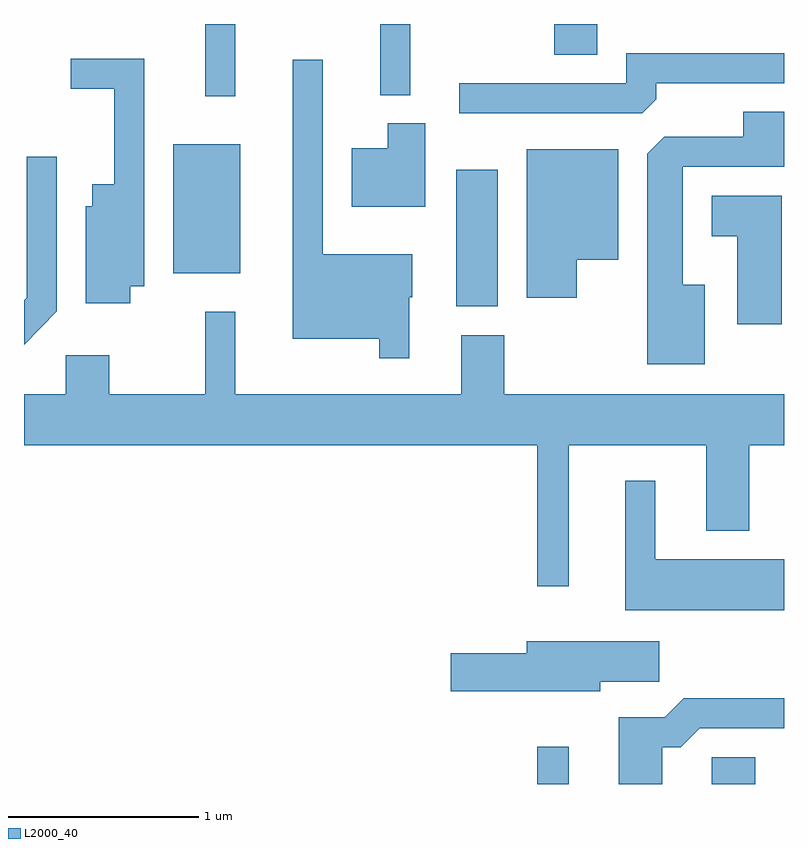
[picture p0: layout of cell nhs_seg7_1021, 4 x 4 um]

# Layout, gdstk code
import gdstk
lib = gdstk.Library(unit=1e-6, precision=1e-09)
def R(c, l, rs):  # rectangles x0, y0, x1, y1
    for r in rs: c.add(gdstk.rectangle(r[:2], r[2:], *l))
def P(c, l, *ps):  # polygons
    for p in ps: c.add(gdstk.Polygon(p, *l))
L2000_40 = (2000, 40)

nhs_seg7_1021 = lib.new_cell('nhs_seg7_1021')
R(nhs_seg7_1021, L2000_40, [(218.311,1770.252,218.479,1770.448), (219.231,1770.252,219.459,1770.394), (217.886,1772.766,218.104,1773.484), (216.396,1772.941,216.749,1773.619), (216.566,1773.873,216.724,1774.252), (217.486,1773.878,217.644,1774.252), (218.401,1774.091,218.629,1774.252)])
P(nhs_seg7_1021, L2000_40, [(218.939,1773.857),(218.939,1773.941),(219.611,1773.941),(219.611,1774.099),(218.781,1774.099),(218.781,1773.939),(217.903,1773.939),(217.903,1773.781),(218.864,1773.781)],
  [(216.169,1772.871),(216.244,1772.871),(216.244,1774.069),(215.858,1774.069),(215.858,1773.911),(216.086,1773.911),(216.086,1773.409),(215.971,1773.409),(215.971,1773.294),(215.936,1773.294),(215.936,1772.781),(216.169,1772.781)],
  [(217.639,1772.815),(217.654,1772.815),(217.654,1773.039),(217.184,1773.039),(217.184,1774.063),(217.026,1774.063),(217.026,1772.596),(217.481,1772.596),(217.481,1772.493),(217.639,1772.493)],
  [(219.194,1772.879),(219.079,1772.879),(219.079,1773.501),(219.611,1773.501),(219.611,1773.789),(219.396,1773.789),(219.396,1773.659),(218.982,1773.659),(218.891,1773.569),(218.891,1772.461),(219.194,1772.461)],
  [(217.724,1773.729),(217.526,1773.729),(217.526,1773.599),(217.336,1773.599),(217.336,1773.291),(217.724,1773.291)],
  [(218.519,1773.011),(218.739,1773.011),(218.739,1773.594),(218.256,1773.594),(218.256,1772.811),(218.519,1772.811)],
  [(215.784,1772.739),(215.784,1773.553),(215.626,1773.553),(215.626,1772.812),(215.611,1772.797),(215.611,1772.565)],
  [(219.599,1773.349),(219.231,1773.349),(219.231,1773.136),(219.366,1773.136),(219.366,1772.671),(219.599,1772.671)],
  [(218.479,1772.036),(219.201,1772.036),(219.201,1771.586),(219.429,1771.586),(219.429,1772.036),(219.611,1772.036),(219.611,1772.304),(218.139,1772.304),(218.139,1772.614),(217.911,1772.614),(217.911,1772.304),(216.724,1772.304),(216.724,1772.738),(216.566,1772.738),(216.566,1772.304),(216.059,1772.304),(216.059,1772.509),(215.831,1772.509),(215.831,1772.304),(215.611,1772.304),(215.611,1772.036),(218.311,1772.036),(218.311,1771.293),(218.479,1771.293)],
  [(219.611,1771.434),(218.934,1771.434),(218.934,1771.848),(218.776,1771.848),(218.776,1771.166),(219.611,1771.166)],
  [(218.644,1770.791),(218.954,1770.791),(218.954,1771.004),(218.256,1771.004),(218.256,1770.939),(217.856,1770.939),(217.856,1770.741),(218.644,1770.741)],
  [(218.969,1770.446),(219.067,1770.446),(219.167,1770.546),(219.611,1770.546),(219.611,1770.704),(219.084,1770.704),(218.984,1770.604),(218.741,1770.604),(218.741,1770.252),(218.969,1770.252)])

lib.write_gds('nhs_seg7_1021.gds')
